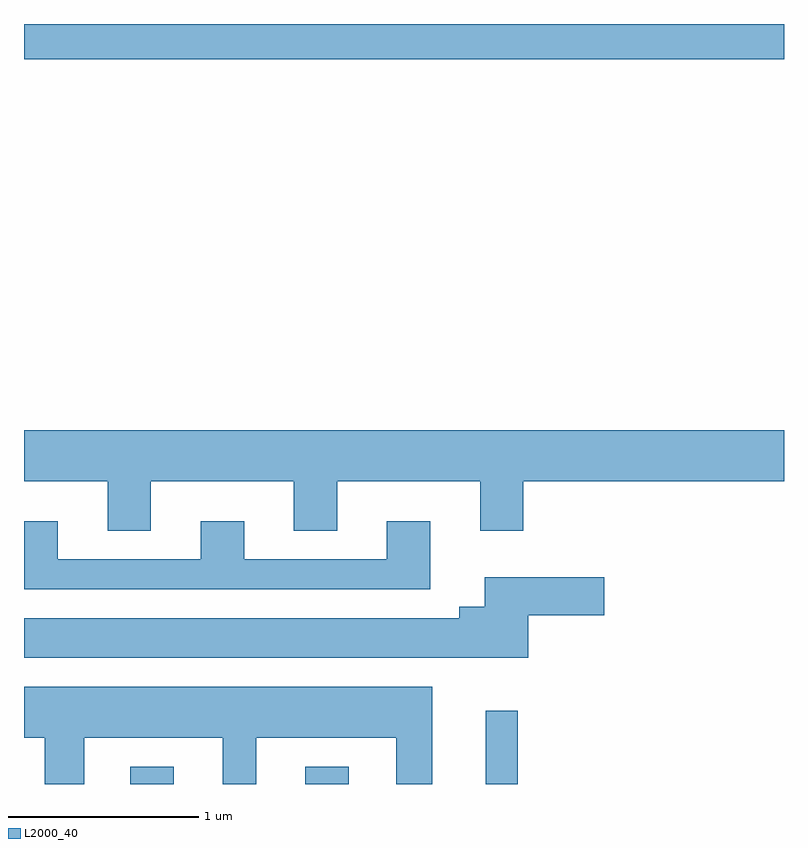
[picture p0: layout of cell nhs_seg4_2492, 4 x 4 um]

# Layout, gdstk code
import gdstk
lib = gdstk.Library(unit=1e-6, precision=1e-09)
def R(c, l, rs):  # rectangles x0, y0, x1, y1
    for r in rs: c.add(gdstk.rectangle(r[:2], r[2:], *l))
def P(c, l, *ps):  # polygons
    for p in ps: c.add(gdstk.Polygon(p, *l))
L2000_40 = (2000, 40)

nhs_seg4_2492 = lib.new_cell('nhs_seg4_2492')
R(nhs_seg4_2492, L2000_40, [(258.171,1341.982,258.399,1342.074), (259.091,1341.982,259.319,1342.074), (260.041,1341.982,260.209,1342.368), (257.611,1345.796,261.611,1345.982)])
P(nhs_seg4_2492, L2000_40, [(258.279,1343.576),(259.031,1343.576),(259.031,1343.316),(259.259,1343.316),(259.259,1343.576),(260.011,1343.576),(260.011,1343.316),(260.239,1343.316),(260.239,1343.576),(261.611,1343.576),(261.611,1343.844),(257.611,1343.844),(257.611,1343.576),(258.051,1343.576),(258.051,1343.316),(258.279,1343.316)],
  [(259.749,1343.364),(259.521,1343.364),(259.521,1343.164),(258.769,1343.164),(258.769,1343.364),(258.541,1343.364),(258.541,1343.164),(257.789,1343.164),(257.789,1343.364),(257.611,1343.364),(257.611,1343.006),(259.749,1343.006)],
  [(260.264,1342.871),(260.664,1342.871),(260.664,1343.069),(260.036,1343.069),(260.036,1342.914),(259.901,1342.914),(259.901,1342.854),(257.611,1342.854),(257.611,1342.646),(260.264,1342.646)],
  [(257.929,1342.226),(258.656,1342.226),(258.656,1341.982),(258.834,1341.982),(258.834,1342.226),(259.571,1342.226),(259.571,1341.982),(259.759,1341.982),(259.759,1342.494),(257.611,1342.494),(257.611,1342.226),(257.721,1342.226),(257.721,1341.982),(257.929,1341.982)])

lib.write_gds('nhs_seg4_2492.gds')
